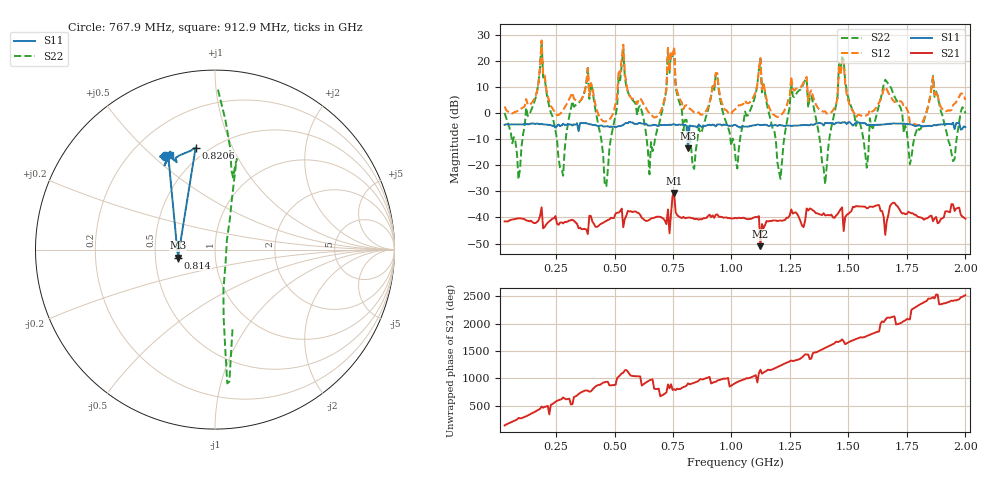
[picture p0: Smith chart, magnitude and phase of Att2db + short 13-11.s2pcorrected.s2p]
# Hz S DB R 50.000000
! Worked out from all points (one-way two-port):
!   300 points, 30 MHz to 2 GHz, reference 50 ohm
!   highest |S21| = -30.62 dB at 754.7 MHz (marker M1); lowest = -51.0 dB at 1.124 GHz (marker M2)
!   lowest |S11| = -13.5 dB at 814 MHz (marker M3), VSWR 1.53, Z = 32.8 - j3.05 ohm
!   |S11| at or under -10 dB: 811.4 MHz to 816.7 MHz (5.301 MHz wide, 0.651 % of centre)
!   |S22| runs from -28.0 to 27.5 dB; largest |S21 - S12| = 25
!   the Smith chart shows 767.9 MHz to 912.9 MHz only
!   S11 on the Smith chart (normalised r, x): 767.9 MHz: 0.34, +0.55; 814 MHz: 0.66, -0.06; 820.6 MHz: 0.43, +0.73; 912.9 MHz: 0.36, +0.57
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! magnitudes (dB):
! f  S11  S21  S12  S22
! 30 MHz  -4.5  -41.5  2.5  0.1
! 89.3 MHz  -4.3  -40.4  1.0  -25.4
! 188.1 MHz  -4.2  -36.1  27.9  27.5
! 280.4 MHz  -4.1  -42.3  1.2  -24.0
! 359.4 MHz  -3.7  -44.5  5.4  5.4
! 464.8 MHz  -5.1  -41.4  -3.1  -28.0
! 537.3 MHz  -4.5  -43.7  26.3  24.2
! 688.9 MHz  -4.9  -39.7  -0.8  -4.9
! 754.7 MHz  -4.2  -30.6  25.2  24.7
! 767.9 MHz  -4.5  -39.1  8.3  7.0
! 814 MHz  -13.5  -40.1  2.6  -5.1
! 820.6 MHz  -4.7  -40.0  1.8  -8.4
! 912.9 MHz  -4.7  -39.9  6.7  6.5
! 1.018 GHz  -4.5  -40.2  1.6  -18.1
! 1.124 GHz  -4.6  -51.0  21.1  20.7
! 1.209 GHz  -4.6  -41.2  -0.9  -25.2
! 1.348 GHz  -4.5  -37.3  6.8  4.1
! 1.4 GHz  -3.7  -39.2  0.7  -27.3
! 1.473 GHz  -3.6  -36.1  20.1  21.5
! 1.578 GHz  -4.5  -36.5  -0.8  -20.9
! 1.677 GHz  -4.1  -35.7  6.8  10.5
! 2 GHz  -5.4  -40.5  5.1  -0.1
